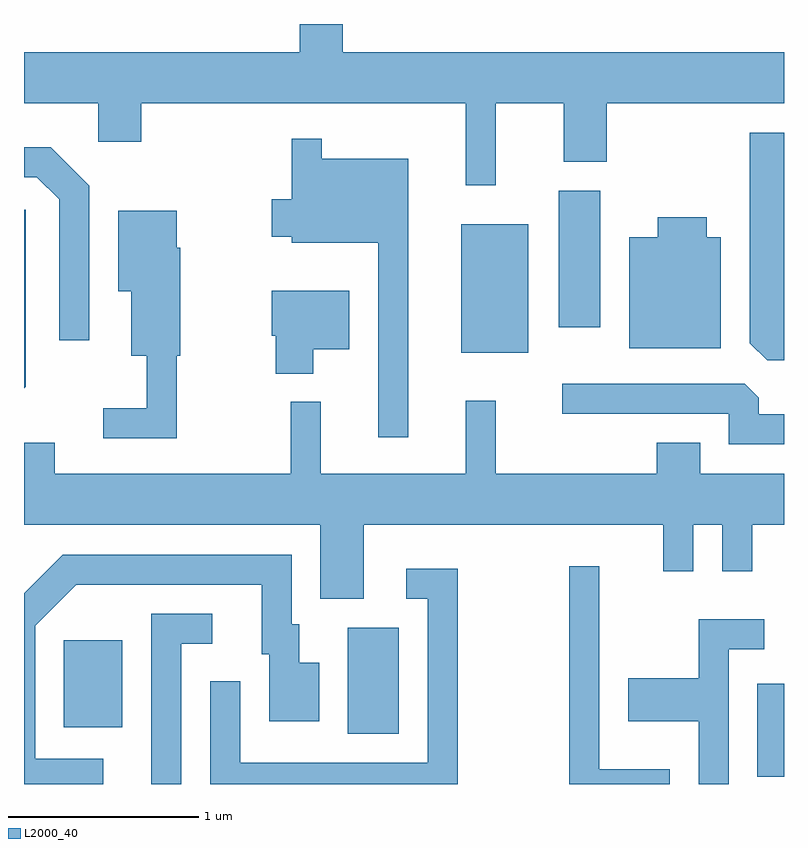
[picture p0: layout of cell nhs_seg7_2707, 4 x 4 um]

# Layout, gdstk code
import gdstk
lib = gdstk.Library(unit=1e-6, precision=1e-09)
def R(c, l, rs):  # rectangles x0, y0, x1, y1
    for r in rs: c.add(gdstk.rectangle(r[:2], r[2:], *l))
def P(c, l, *ps):  # polygons
    for p in ps: c.add(gdstk.Polygon(p, *l))
L2000_40 = (2000, 40)

nhs_seg7_2707 = lib.new_cell('nhs_seg7_2707')
R(nhs_seg7_2707, L2000_40, [(271.471,1746.291,271.611,1746.779), (269.316,1746.516,269.584,1747.074), (267.821,1746.551,268.129,1747.009), (269.911,1748.521,270.264,1749.199), (270.426,1748.656,270.644,1749.374)])
P(nhs_seg7_2707, L2000_40, [(270.094,1749.836),(270.451,1749.836),(270.451,1749.526),(270.679,1749.526),(270.679,1749.836),(271.611,1749.836),(271.611,1750.104),(269.289,1750.104),(269.289,1750.252),(269.061,1750.252),(269.061,1750.104),(267.611,1750.104),(267.611,1749.836),(268.001,1749.836),(268.001,1749.631),(268.229,1749.631),(268.229,1749.836),(269.936,1749.836),(269.936,1749.403),(270.094,1749.403)],
  [(271.611,1749.679),(271.431,1749.679),(271.431,1748.572),(271.522,1748.481),(271.611,1748.481)],
  [(269.634,1749.544),(269.179,1749.544),(269.179,1749.648),(269.021,1749.648),(269.021,1749.329),(268.916,1749.329),(268.916,1749.131),(269.021,1749.131),(269.021,1749.101),(269.476,1749.101),(269.476,1748.078),(269.634,1748.078)],
  [(267.954,1749.402),(267.752,1749.604),(267.611,1749.604),(267.611,1749.446),(267.679,1749.446),(267.796,1749.329),(267.796,1748.588),(267.954,1748.588)],
  [(267.619,1748.344),(267.619,1749.274),(267.611,1749.274),(267.611,1748.336)],
  [(268.414,1748.506),(268.434,1748.506),(268.434,1749.074),(268.414,1749.074),(268.414,1749.269),(268.106,1749.269),(268.106,1748.846),(268.176,1748.846),(268.176,1748.506),(268.256,1748.506),(268.256,1748.229),(268.028,1748.229),(268.028,1748.071),(268.414,1748.071)],
  [(271.279,1749.129),(271.204,1749.129),(271.204,1749.234),(270.946,1749.234),(270.946,1749.129),(270.796,1749.129),(270.796,1748.546),(271.279,1748.546)],
  [(269.134,1748.541),(269.324,1748.541),(269.324,1748.849),(268.916,1748.849),(268.916,1748.611),(268.936,1748.611),(268.936,1748.411),(269.134,1748.411)],
  [(271.611,1748.199),(271.479,1748.199),(271.479,1748.284),(271.404,1748.359),(270.443,1748.359),(270.443,1748.201),(271.321,1748.201),(271.321,1748.041),(271.611,1748.041)],
  [(269.399,1747.616),(270.976,1747.616),(270.976,1747.373),(271.134,1747.373),(271.134,1747.616),(271.286,1747.616),(271.286,1747.373),(271.444,1747.373),(271.444,1747.616),(271.611,1747.616),(271.611,1747.884),(271.169,1747.884),(271.169,1748.049),(270.941,1748.049),(270.941,1747.884),(270.094,1747.884),(270.094,1748.268),(269.936,1748.268),(269.936,1747.884),(269.174,1747.884),(269.174,1748.263),(269.016,1748.263),(269.016,1747.884),(267.774,1747.884),(267.774,1748.049),(267.611,1748.049),(267.611,1747.616),(269.171,1747.616),(269.171,1747.226),(269.399,1747.226)],
  [(268.028,1746.384),(267.669,1746.384),(267.669,1747.084),(267.887,1747.301),(268.861,1747.301),(268.861,1746.936),(268.901,1746.936),(268.901,1746.581),(269.164,1746.581),(269.164,1746.889),(269.059,1746.889),(269.059,1747.094),(269.019,1747.094),(269.019,1747.459),(267.814,1747.459),(267.611,1747.257),(267.611,1746.252),(268.028,1746.252)],
  [(271.009,1746.329),(270.639,1746.329),(270.639,1747.398),(270.481,1747.398),(270.481,1746.252),(271.009,1746.252)],
  [(269.894,1747.384),(269.623,1747.384),(269.623,1747.226),(269.736,1747.226),(269.736,1746.364),(268.749,1746.364),(268.749,1746.793),(268.591,1746.793),(268.591,1746.252),(269.894,1746.252)],
  [(268.439,1746.991),(268.603,1746.991),(268.603,1747.149),(268.281,1747.149),(268.281,1746.252),(268.439,1746.252)],
  [(271.319,1746.961),(271.508,1746.961),(271.508,1747.119),(271.161,1747.119),(271.161,1746.809),(270.791,1746.809),(270.791,1746.581),(271.161,1746.581),(271.161,1746.252),(271.319,1746.252)])

lib.write_gds('nhs_seg7_2707.gds')
